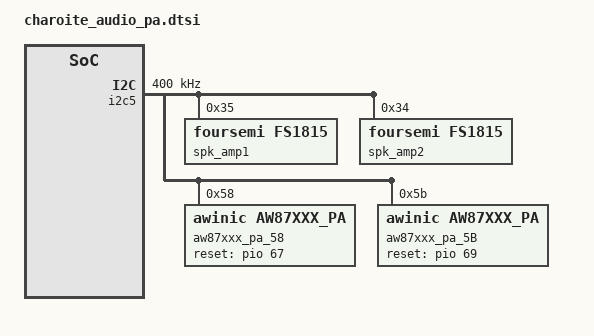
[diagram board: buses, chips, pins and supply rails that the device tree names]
&odm {
	/* platform device */
	frsm_amp: frsm_amp  {
		compatible = "foursemi,frsm-amp";
		frsm,amp-ndev = <2>;
		frsm,class-enable;
		status = "okay";
	};

	/* platform device */
	frsm_amp_mngr: frsm_amp_mngr {
		compatible = "audio,spkr-amp-mngr";
		audio,register-dapm = <0>;
		audio,amp-ndev = <2>;
		status = "okay";
	};
};

/* i2c device */
&i2c5 {
	clock-frequency = <400000>;
	mediatek,use-open-drain;
	spk_amp1: fs1815@35 {
		compatible = "foursemi,fs1815";
		reg = <0x35>;
		spkr-id = <1>;
		//soft-reset = <0x100002>;
		fwm-name = "frsm-spk1.bin";
		status = "okay";
	};

	spk_amp2: fs1815@34 {
		compatible = "foursemi,fs1815";
		reg = <0x34>;
		spkr-id = <2>;
		//soft-reset = <0x100002>;
		fwm-name = "frsm-spk2.bin";
		status = "okay";
	};

	aw87xxx_pa_58@58 {
		compatible = "awinic,aw87xxx_pa";
		reg = <0x58>;
		reset-gpio = <&pio 67 0>;
		dev_index = < 1 >;
		status = "okay";
	};
	aw87xxx_pa_5B@5B {
		compatible = "awinic,aw87xxx_pa";
		reg = <0x5B>;
		reset-gpio = <&pio 69 0>;
		dev_index = < 0 >;
		status = "okay";
	};
};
